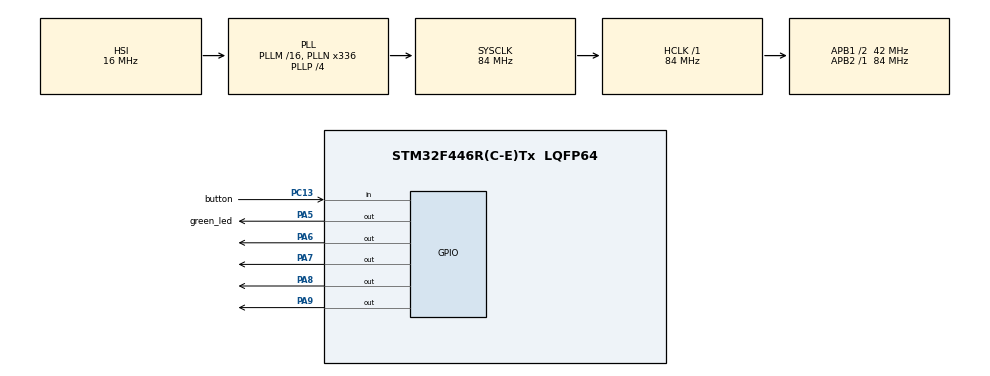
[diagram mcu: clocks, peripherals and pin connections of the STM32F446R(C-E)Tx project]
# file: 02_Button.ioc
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Mcu.Family=STM32F4
Mcu.Name=STM32F446R(C-E)Tx
Mcu.Package=LQFP64
NVIC.PriorityGroup=NVIC_PRIORITYGROUP_0
PA13.Mode=Serial_Wire
PA13.Signal=SYS_JTMS-SWDIO
PA14.Mode=Serial_Wire
PA14.Signal=SYS_JTCK-SWCLK
PA5.GPIO_Label=green_led
PA5.GPIO_Speed=GPIO_SPEED_FREQ_MEDIUM
PA5.Signal=GPIO_Output
PA6.GPIO_Speed=GPIO_SPEED_FREQ_MEDIUM
PA6.Signal=GPIO_Output
PA7.GPIO_Speed=GPIO_SPEED_FREQ_MEDIUM
PA7.Signal=GPIO_Output
PA8.GPIO_Speed=GPIO_SPEED_FREQ_MEDIUM
PA8.Signal=GPIO_Output
PA9.GPIO_Speed=GPIO_SPEED_FREQ_MEDIUM
PA9.Signal=GPIO_Output
PC13.GPIO_Label=button
PC13.GPIO_PuPd=GPIO_PULLUP
PC13.Signal=GPIO_Input
ProjectManager.HeapSize=0x200
ProjectManager.StackSize=0x400
ProjectManager.TargetToolchain=STM32CubeIDE
RCC.48MHZClocksFreq_Value=84000000
RCC.AHBFreq_Value=84000000
RCC.APB1CLKDivider=RCC_HCLK_DIV2
RCC.APB1Freq_Value=42000000
RCC.APB1TimFreq_Value=84000000
RCC.APB2Freq_Value=84000000
RCC.APB2TimFreq_Value=84000000
RCC.CortexFreq_Value=84000000
RCC.FLatency-AdvancedSettings=FLASH_LATENCY_2
RCC.HCLKFreq_Value=84000000
RCC.HSE_VALUE=8000000
RCC.HSI_VALUE=16000000
RCC.PLLN=336
RCC.PLLP=RCC_PLLP_DIV4
RCC.SYSCLKFreq_VALUE=84000000
RCC.SYSCLKSource=RCC_SYSCLKSOURCE_PLLCLK
RCC.USBFreq_Value=168000000
RCC.VCOOutputFreq_Value=336000000
board=NUCLEO-F446RE

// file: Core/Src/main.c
/* USER CODE BEGIN Header */
/**
 ******************************************************************************
 * @file           : main.c
 * @brief          : Main program body
 ******************************************************************************
 * @attention
 *
 * Copyright (c) 2025 STMicroelectronics.
 * All rights reserved.
 *
 * This software is licensed under terms that can be found in the LICENSE file
 * in the root directory of this software component.
 * If no LICENSE file comes with this software, it is provided AS-IS.
 *
 ******************************************************************************
 */
/* USER CODE END Header */
#include "main.h"

/* USER CODE BEGIN PV */
uint8_t buttonState;
uint16_t buttonCounter = 0;
/* USER CODE END PV */

void SystemClock_Config(void);
static void MX_GPIO_Init(void);

int main(void) {

	/* MCU Configuration--------------------------------------------------------*/

	/* Reset of all peripherals, Initializes the Flash interface and the Systick. */
	HAL_Init();

	/* Configure the system clock */
	SystemClock_Config();

	/* Initialize all configured peripherals */
	MX_GPIO_Init();

	/* Infinite loop */
	while (1) {

		/* USER CODE BEGIN 3 */
		buttonState = HAL_GPIO_ReadPin(button_GPIO_Port, button_Pin);

		HAL_Delay(200);

		if (!buttonState) {
			HAL_GPIO_WritePin(green_led_GPIO_Port, green_led_Pin, 1);
			buttonCounter++;
		} else {
			HAL_GPIO_WritePin(green_led_GPIO_Port, green_led_Pin, 0);
		}

		if (buttonCounter % 4 == 0) {
			HAL_GPIO_WritePin(GPIOA, GPIO_PIN_6, 1);
			HAL_GPIO_WritePin(GPIOA, GPIO_PIN_7, 0);
			HAL_GPIO_WritePin(GPIOA, GPIO_PIN_9, 0);
			HAL_GPIO_WritePin(GPIOA, GPIO_PIN_8, 0);
		} else if (buttonCounter % 4 == 1) {
			HAL_GPIO_WritePin(GPIOA, GPIO_PIN_6, 1);
			HAL_GPIO_WritePin(GPIOA, GPIO_PIN_7, 1);
			HAL_GPIO_WritePin(GPIOA, GPIO_PIN_9, 0);
			HAL_GPIO_WritePin(GPIOA, GPIO_PIN_8, 0);
		} else if (buttonCounter % 4 == 2) {
			HAL_GPIO_WritePin(GPIOA, GPIO_PIN_6, 1);
			HAL_GPIO_WritePin(GPIOA, GPIO_PIN_7, 1);
			HAL_GPIO_WritePin(GPIOA, GPIO_PIN_9, 1);
			HAL_GPIO_WritePin(GPIOA, GPIO_PIN_8, 0);
		} else if (buttonCounter % 4 == 3) {
			HAL_GPIO_WritePin(GPIOA, GPIO_PIN_6, 1);
			HAL_GPIO_WritePin(GPIOA, GPIO_PIN_7, 1);
			HAL_GPIO_WritePin(GPIOA, GPIO_PIN_9, 1);
			HAL_GPIO_WritePin(GPIOA, GPIO_PIN_8, 1);
		} else {
			HAL_GPIO_WritePin(GPIOA, GPIO_PIN_6, 0);
			HAL_GPIO_WritePin(GPIOA, GPIO_PIN_7, 0);
			HAL_GPIO_WritePin(GPIOA, GPIO_PIN_9, 0);
			HAL_GPIO_WritePin(GPIOA, GPIO_PIN_8, 0);
		}
	}
	/* USER CODE END 3 */
}

void SystemClock_Config(void) {
	RCC_OscInitTypeDef RCC_OscInitStruct = { 0 };
	RCC_ClkInitTypeDef RCC_ClkInitStruct = { 0 };

	/** Configure the main internal regulator output voltage
	 */
	__HAL_RCC_PWR_CLK_ENABLE();
	__HAL_PWR_VOLTAGESCALING_CONFIG(PWR_REGULATOR_VOLTAGE_SCALE3);

	/** Initializes the RCC Oscillators according to the specified parameters
	 * in the RCC_OscInitTypeDef structure.
	 */
	RCC_OscInitStruct.OscillatorType = RCC_OSCILLATORTYPE_HSI;
	RCC_OscInitStruct.HSIState = RCC_HSI_ON;
	RCC_OscInitStruct.HSICalibrationValue = RCC_HSICALIBRATION_DEFAULT;
	RCC_OscInitStruct.PLL.PLLState = RCC_PLL_ON;
	RCC_OscInitStruct.PLL.PLLSource = RCC_PLLSOURCE_HSI;
	RCC_OscInitStruct.PLL.PLLM = 16;
	RCC_OscInitStruct.PLL.PLLN = 336;
	RCC_OscInitStruct.PLL.PLLP = RCC_PLLP_DIV4;
	RCC_OscInitStruct.PLL.PLLQ = 2;
	RCC_OscInitStruct.PLL.PLLR = 2;
	if (HAL_RCC_OscConfig(&RCC_OscInitStruct) != HAL_OK) {
		Error_Handler();
	}

	/** Initializes the CPU, AHB and APB buses clocks
	 */
	RCC_ClkInitStruct.ClockType = RCC_CLOCKTYPE_HCLK | RCC_CLOCKTYPE_SYSCLK
			| RCC_CLOCKTYPE_PCLK1 | RCC_CLOCKTYPE_PCLK2;
	RCC_ClkInitStruct.SYSCLKSource = RCC_SYSCLKSOURCE_PLLCLK;
	RCC_ClkInitStruct.AHBCLKDivider = RCC_SYSCLK_DIV1;
	RCC_ClkInitStruct.APB1CLKDivider = RCC_HCLK_DIV2;
	RCC_ClkInitStruct.APB2CLKDivider = RCC_HCLK_DIV1;

	if (HAL_RCC_ClockConfig(&RCC_ClkInitStruct, FLASH_LATENCY_2) != HAL_OK) {
		Error_Handler();
	}
}

static void MX_GPIO_Init(void) {
	GPIO_InitTypeDef GPIO_InitStruct = { 0 };

	/* GPIO Ports Clock Enable */
	__HAL_RCC_GPIOC_CLK_ENABLE();
	__HAL_RCC_GPIOA_CLK_ENABLE();

	/*Configure GPIO pin Output Level */
	HAL_GPIO_WritePin(GPIOA,
	green_led_Pin | GPIO_PIN_6 | GPIO_PIN_7 | GPIO_PIN_8 | GPIO_PIN_9,
			GPIO_PIN_RESET);

	/*Configure GPIO pin : button_Pin */
	GPIO_InitStruct.Pin = button_Pin;
	GPIO_InitStruct.Mode = GPIO_MODE_INPUT;
	GPIO_InitStruct.Pull = GPIO_PULLUP;
	HAL_GPIO_Init(button_GPIO_Port, &GPIO_InitStruct);

	/*Configure GPIO pins : green_led_Pin PA6 PA7 PA8
	 PA9 */
	GPIO_InitStruct.Pin = green_led_Pin | GPIO_PIN_6 | GPIO_PIN_7 | GPIO_PIN_8
			| GPIO_PIN_9;
	GPIO_InitStruct.Mode = GPIO_MODE_OUTPUT_PP;
	GPIO_InitStruct.Pull = GPIO_NOPULL;
	GPIO_InitStruct.Speed = GPIO_SPEED_FREQ_MEDIUM;
	HAL_GPIO_Init(GPIOA, &GPIO_InitStruct);

}

void Error_Handler(void) {
	__disable_irq();
	while (1) {
	}
}
